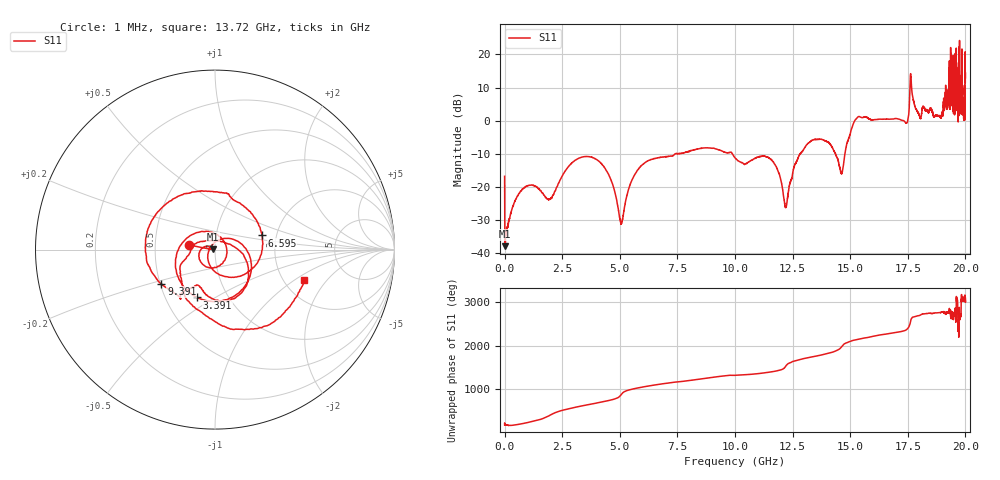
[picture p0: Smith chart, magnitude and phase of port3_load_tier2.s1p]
! Created with skrf 1.8.0 (http://scikit-rf.org).
# GHz S RI R 50.0
!freq ReS11 ImS11
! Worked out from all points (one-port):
!   10001 points, 1 MHz to 20 GHz, reference 50 ohm
!   lowest |S11| = -37.8 dB at 13 MHz (marker M1), VSWR 1.03, Z = 48.8 + j0.255 ohm
!   |S11| at or under -10 dB: start of sweep to 7.399 GHz; 9.89 GHz to 12.82 GHz (2.935 GHz wide, 25.8 % of centre); 14.36 GHz to 14.77 GHz (409.3 MHz wide, 2.81 % of centre)
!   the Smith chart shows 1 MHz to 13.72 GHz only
!   S11 on the Smith chart (normalised r, x): 1 MHz: 0.75, +0.04; 3.391 GHz: 0.72, -0.42; 6.595 GHz: 1.68, +0.29; 9.391 GHz: 0.51, -0.22; 13.72 GHz: 2.59, -1.19
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0.001  -0.1431 0.0252
0.0129994  -0.0126 0.00262
2.500875  -0.118 0.0876
3.39083  -0.0995 -0.2664
5.00075  -0.0102 0.0319
6.59467  0.2608 0.0789
7.500625  0.0562 0.3145
9.390531  -0.2983 -0.1906
10.0005  -0.1593 -0.226
12.50038  -0.1532 -0.0378
13.72031  0.4982 -0.1667
14.37228  0.0608 0.3054
15.00025  0.3372 -0.5347
15.56622  1.092 0.2515
16.38418  -0.1074 1.047
17.25214  -1.004 0.1342
17.50013  -0.5142 -0.8684
17.56612  0.7372 -1.522
17.71011  -1.775 1.503
17.76011  -1.622 1.106
18.17809  -1.247 -0.9787
18.92005  -0.4333 -1.082
19.27404  -1.11 -2.502
19.45603  -4.864 0.3839
19.64202  -2.765 4.498
19.84201  -5.601 0.1553
19.89801  -1.719 0.6085
20  -2.888 3.381
